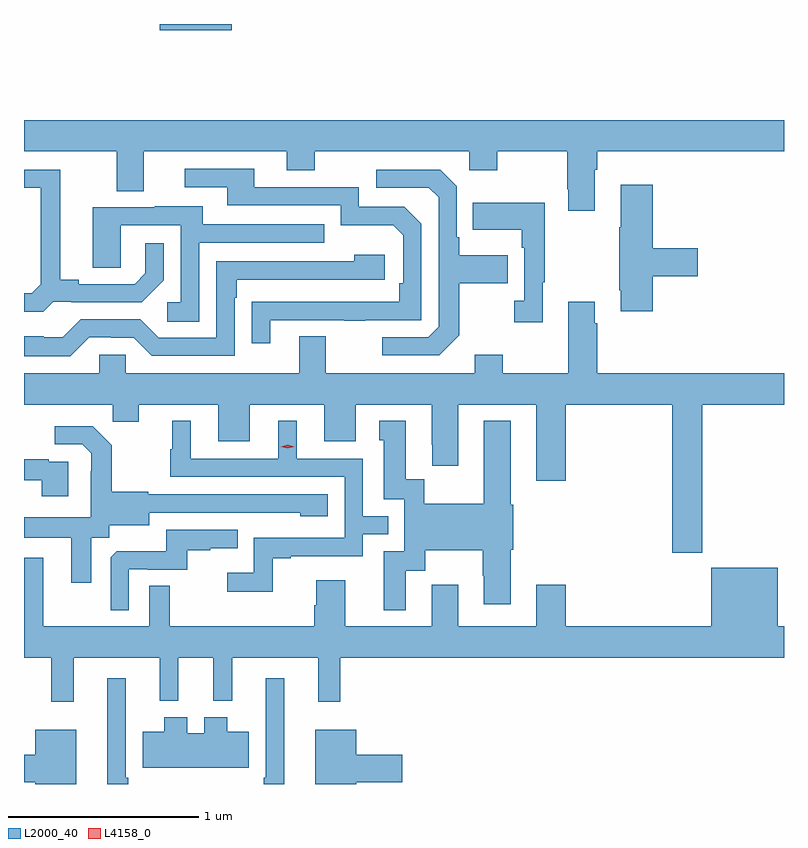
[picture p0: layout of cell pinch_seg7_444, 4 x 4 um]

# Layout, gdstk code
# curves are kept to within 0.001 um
import gdstk
lib = gdstk.Library(unit=1e-6, precision=1e-09)
def R(c, l, rs):  # rectangles x0, y0, x1, y1
    for r in rs: c.add(gdstk.rectangle(r[:2], r[2:], *l))
def P(c, l, *ps):  # polygons
    for p in ps: c.add(gdstk.Polygon(p, *l))
L2000_40 = (2000, 40)
L4158_0 = (4158, 0)

pinch_seg7_444 = lib.new_cell('pinch_seg7_444')
R(pinch_seg7_444, L2000_40, [(264.356,1081.174,264.736,1081.207)])
P(pinch_seg7_444, L2000_40, [(266.647,1080.44),(266.66,1080.44),(266.66,1080.536),(267.642,1080.536),(267.642,1080.7),(263.642,1080.7),(263.642,1080.536),(264.131,1080.536),(264.131,1080.328),(264.271,1080.328),(264.271,1080.536),(265.025,1080.536),(265.025,1080.437),(265.173,1080.437),(265.173,1080.536),(265.986,1080.536),(265.986,1080.437),(266.133,1080.437),(266.133,1080.536),(266.5,1080.536),(266.5,1080.337),(266.507,1080.337),(266.507,1080.225),(266.647,1080.225)],
  [(264.937,1079.649),(265.327,1079.649),(265.327,1079.644),(265.439,1079.644),(265.439,1079.649),(265.734,1079.649),(265.734,1080.156),(265.644,1080.246),(265.404,1080.246),(265.404,1080.348),(264.853,1080.348),(264.853,1080.444),(264.489,1080.444),(264.489,1080.348),(264.713,1080.348),(264.713,1080.252),(265.308,1080.252),(265.308,1080.149),(265.585,1080.149),(265.638,1080.096),(265.638,1079.842),(265.618,1079.842),(265.618,1079.745),(264.841,1079.744),(264.841,1079.526),(264.937,1079.526)],
  [(265.933,1079.569),(265.933,1079.842),(266.189,1079.842),(266.189,1079.989),(265.933,1079.989),(265.933,1080.085),(265.92,1080.085),(265.92,1080.354),(265.833,1080.441),(265.497,1080.441),(265.497,1080.345),(265.773,1080.345),(265.824,1080.294),(265.824,1079.613),(265.77,1079.559),(265.527,1079.559),(265.527,1079.463),(265.827,1079.463)],
  [(263.796,1079.745),(263.89,1079.745),(263.89,1079.742),(264.262,1079.742),(264.378,1079.858),(264.378,1080.052),(264.281,1080.052),(264.281,1079.895),(264.224,1079.838),(263.929,1079.838),(263.929,1079.861),(263.833,1079.861),(263.833,1080.441),(263.642,1080.441),(263.642,1080.345),(263.729,1080.345),(263.729,1079.837),(263.682,1079.79),(263.642,1079.79),(263.642,1079.693),(263.744,1079.693)],
  [(266.951,1079.879),(267.187,1079.879),(267.187,1080.026),(266.951,1080.026),(266.951,1080.361),(266.783,1080.361),(266.783,1080.137),(266.776,1080.137),(266.776,1079.806),(266.783,1079.806),(266.783,1079.694),(266.951,1079.694)],
  [(266.371,1079.849),(266.383,1079.849),(266.383,1080.265),(266.005,1080.265),(266.005,1080.125),(266.262,1080.125),(266.262,1080.029),(266.274,1080.029),(266.274,1079.75),(266.223,1079.75),(266.223,1079.637),(266.371,1079.637)],
  [(264.564,1080.057),(265.223,1080.057),(265.223,1080.153),(264.583,1080.153),(264.583,1080.247),(264.329,1080.247),(264.329,1080.243),(264.005,1080.243),(264.005,1079.923),(264.15,1079.923),(264.15,1080.147),(264.468,1080.147),(264.468,1079.742),(264.396,1079.742),(264.396,1079.641),(264.564,1079.641)],
  [(263.985,1079.559),(264.101,1079.559),(264.101,1079.556),(264.219,1079.556),(264.315,1079.46),(264.75,1079.46),(264.75,1079.765),(264.763,1079.765),(264.763,1079.862),(265.54,1079.862),(265.54,1079.992),(265.379,1079.992),(265.379,1079.958),(264.654,1079.958),(264.654,1079.556),(264.351,1079.556),(264.255,1079.652),(263.94,1079.652),(263.847,1079.559),(263.747,1079.559),(263.747,1079.563),(263.642,1079.563),(263.642,1079.459),(263.885,1079.459)],
  [(267.213,1079.204),(267.642,1079.204),(267.642,1079.368),(266.66,1079.368),(266.66,1079.633),(266.647,1079.633),(266.647,1079.746),(266.507,1079.746),(266.507,1079.368),(266.163,1079.368),(266.163,1079.467),(266.015,1079.467),(266.015,1079.368),(265.231,1079.368),(265.231,1079.563),(265.091,1079.563),(265.091,1079.368),(264.177,1079.368),(264.177,1079.466),(264.039,1079.466),(264.039,1079.368),(263.642,1079.368),(263.642,1079.204),(264.109,1079.204),(264.109,1079.114),(264.247,1079.114),(264.247,1079.204),(264.665,1079.204),(264.665,1079.01),(264.829,1079.01),(264.829,1079.204),(265.223,1079.204),(265.223,1079.01),(265.387,1079.01),(265.387,1079.204),(265.787,1079.204),(265.787,1078.993),(265.79,1078.993),(265.79,1078.881),(265.927,1078.881),(265.927,1079.204),(266.339,1079.204),(266.339,1078.803),(266.492,1078.803),(266.492,1079.204),(267.053,1079.204),(267.053,1078.425),(267.213,1078.425)],
  [(264.951,1078.395),(265.045,1078.395),(265.045,1078.407),(265.425,1078.407),(265.425,1078.521),(265.559,1078.521),(265.559,1078.617),(265.425,1078.617),(265.425,1078.92),(265.078,1078.92),(265.078,1079.119),(264.98,1079.119),(264.98,1078.92),(264.52,1078.92),(264.52,1079.119),(264.422,1079.119),(264.422,1078.968),(264.411,1078.968),(264.411,1078.824),(265.329,1078.824),(265.329,1078.503),(264.852,1078.503),(264.852,1078.318),(264.711,1078.318),(264.711,1078.22),(264.951,1078.22)],
  [(265.651,1078.33),(265.753,1078.33),(265.753,1078.436),(266.056,1078.436),(266.056,1078.302),(266.063,1078.302),(266.063,1078.152),(266.203,1078.152),(266.203,1078.44),(266.216,1078.44),(266.216,1078.677),(266.203,1078.677),(266.203,1079.119),(266.063,1079.119),(266.063,1078.681),(265.749,1078.681),(265.749,1078.811),(265.651,1078.811),(265.651,1079.119),(265.511,1079.119),(265.511,1079.016),(265.535,1079.016),(265.535,1078.707),(265.644,1078.707),(265.644,1078.431),(265.535,1078.431),(265.535,1078.122),(265.651,1078.122)],
  [(263.995,1078.504),(264.09,1078.504),(264.09,1078.568),(264.301,1078.568),(264.301,1078.635),(265.095,1078.634),(265.095,1078.616),(265.24,1078.616),(265.24,1078.731),(264.297,1078.731),(264.297,1078.744),(264.105,1078.744),(264.105,1078.989),(264.005,1079.089),(263.805,1079.089),(263.805,1078.995),(263.949,1078.995),(263.996,1078.948),(263.996,1078.853),(263.994,1078.853),(263.994,1078.612),(263.642,1078.612),(263.642,1078.502),(263.891,1078.502),(263.891,1078.266),(263.995,1078.266)],
  [(263.875,1078.902),(263.771,1078.902),(263.771,1078.915),(263.642,1078.915),(263.642,1078.806),(263.735,1078.806),(263.735,1078.722),(263.875,1078.722)],
  [(264.192,1078.338),(264.292,1078.338),(264.292,1078.335),(264.5,1078.335),(264.5,1078.437),(264.623,1078.437),(264.623,1078.448),(264.767,1078.448),(264.767,1078.545),(264.39,1078.545),(264.39,1078.433),(264.131,1078.433),(264.099,1078.401),(264.099,1078.121),(264.192,1078.121)],
  [(263.903,1077.872),(264.356,1077.872),(264.356,1077.644),(264.455,1077.644),(264.455,1077.872),(264.638,1077.872),(264.638,1077.644),(264.737,1077.644),(264.737,1077.872),(265.19,1077.872),(265.19,1077.639),(265.307,1077.639),(265.307,1077.872),(267.642,1077.872),(267.642,1078.036),(267.61,1078.036),(267.61,1078.345),(267.26,1078.345),(267.26,1078.036),(266.492,1078.036),(266.492,1078.255),(266.339,1078.255),(266.339,1078.036),(265.927,1078.036),(265.927,1078.255),(265.787,1078.255),(265.787,1078.036),(265.333,1078.036),(265.333,1078.279),(265.181,1078.279),(265.181,1078.149),(265.169,1078.149),(265.169,1078.036),(264.409,1078.036),(264.409,1078.25),(264.3,1078.25),(264.3,1078.036),(263.743,1078.036),(263.743,1078.399),(263.642,1078.399),(263.642,1077.872),(263.785,1077.872),(263.785,1077.639),(263.903,1077.639)],
  [(264.19,1077.241),(264.177,1077.241),(264.177,1077.763),(264.08,1077.763),(264.08,1077.207),(264.19,1077.207)],
  [(265.012,1077.763),(264.915,1077.763),(264.915,1077.241),(264.903,1077.241),(264.903,1077.207),(265.012,1077.207)],
  [(264.826,1077.481),(264.712,1077.481),(264.712,1077.559),(264.59,1077.559),(264.59,1077.474),(264.502,1077.474),(264.502,1077.559),(264.38,1077.559),(264.38,1077.481),(264.266,1077.481),(264.266,1077.293),(264.826,1077.293)],
  [(265.39,1077.215),(265.633,1077.215),(265.633,1077.362),(265.39,1077.362),(265.39,1077.493),(265.175,1077.493),(265.175,1077.207),(265.39,1077.207)],
  [(263.917,1077.493),(263.702,1077.493),(263.702,1077.362),(263.642,1077.362),(263.642,1077.215),(263.702,1077.215),(263.702,1077.207),(263.917,1077.207)])
P(pinch_seg7_444, L4158_0, [(265.029,1078.973),(264.993,1078.983),(264.993,1078.983),(264.993,1078.983),(265.029,1078.993),(265.065,1078.983),(265.065,1078.983),(265.065,1078.983)])

lib.write_gds('pinch_seg7_444.gds')
